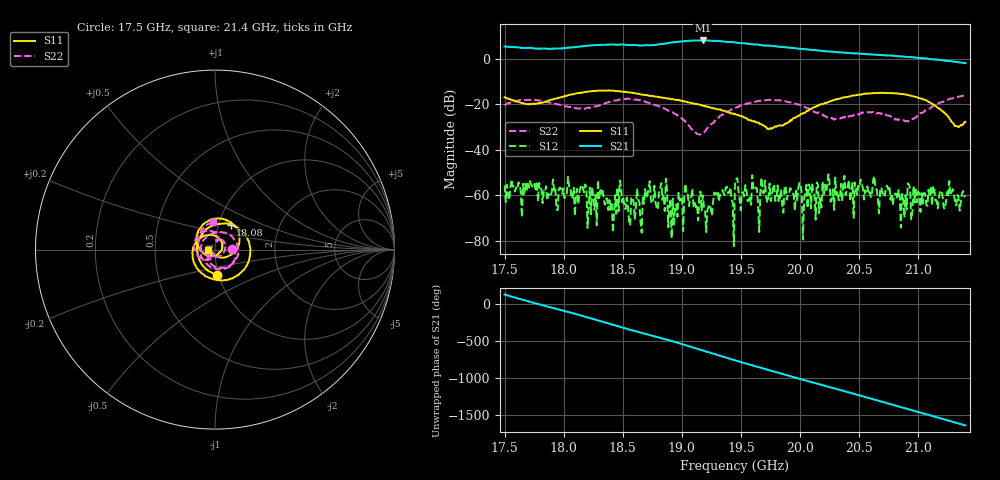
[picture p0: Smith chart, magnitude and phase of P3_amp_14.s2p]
!Created with skrf (http://scikit-rf.org).
# GHz S RI R 50.0
!freq ReS11 ImS11 ReS21 ImS21 ReS12 ImS12 ReS22 ImS22
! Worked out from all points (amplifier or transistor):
!   401 points, 17.5 GHz to 21.4 GHz, reference 50 ohm
!   highest |S21| = 8.0 dB at 19.18 GHz (marker M1)
!   |S21| within 3 dB of that: 18.09 GHz to 19.87 GHz (1.783 GHz wide, 9.39 % of centre) (the widest 1 of 2)
!   unconditionally stable (mu >= 1): start of sweep to end of sweep
!   at 18.14 GHz: K = 172.76, MAG = 5.5 dB, |S12| = -56.4 dB
!   at 19.45 GHz: K = 106.96, MAG = 7.1 dB, |S12| = -53.8 dB
!   at 21.4 GHz: K = 623.88, MAG = -1.9 dB, |S12| = -60.1 dB
!   S11 on the Smith chart (normalised r, x): 17.5 GHz: 0.98, -0.28; 18.08 GHz: 1.14, +0.33; 21.4 GHz: 0.92, -0.01
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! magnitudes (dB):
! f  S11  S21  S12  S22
! 17.5 GHz  -17.0  5.3  -55.7  -20.5
! 18.08 GHz  -15.7  4.9  -61.1  -21.5
! 18.15 GHz  -15.0  5.4  -55.5  -21.7
! 18.21 GHz  -14.5  5.7  -64.5  -21.6
! 18.31 GHz  -14.1  6.1  -57.1  -20.5
! 18.41 GHz  -14.1  6.2  -63.2  -18.8
! 18.48 GHz  -14.4  6.1  -53.6  -18.0
! 18.54 GHz  -14.8  6.0  -64.8  -17.7
! 18.71 GHz  -16.1  5.9  -59.9  -19.3
! 18.81 GHz  -16.9  6.3  -58.6  -21.0
! 18.9 GHz  -17.8  7.0  -61.7  -23.2
! 19.04 GHz  -19.0  7.8  -59.9  -28.3
! 19.18 GHz  -20.7  8.0  -60.1  -32.6
! 19.45 GHz  -24.3  7.1  -53.8  -21.7
! 19.75 GHz  -30.9  5.7  -62.7  -18.3
! 19.99 GHz  -25.2  4.4  -56.7  -20.2
! 20.04 GHz  -23.8  4.1  -59.4  -21.3
! 20.1 GHz  -21.8  3.8  -54.7  -22.9
! 20.76 GHz  -15.1  1.3  -56.1  -25.2
! 20.86 GHz  -15.6  1.0  -59.5  -27.2
! 20.91 GHz  -16.0  0.7  -54.8  -27.5
! 21.4 GHz  -27.8  -2.0  -60.1  -16.1
